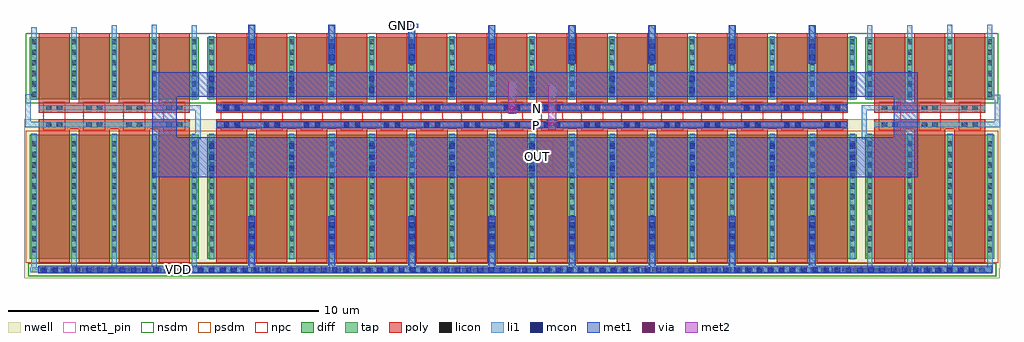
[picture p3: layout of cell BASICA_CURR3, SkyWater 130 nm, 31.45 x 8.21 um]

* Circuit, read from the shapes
.subckt BASICA_CURR3 GND N OUT P VDD
XM1 sky130_fd_pr__nfet_01v8_AP5T44_5/S1 VDD sky130_fd_pr__nfet_01v8_AP5T44_5/D0 VSUBS sky130_fd_pr__nfet_01v8 w=2 l=1
XM2 sky130_fd_pr__nfet_01v8_AP5T44_5/D2 VDD sky130_fd_pr__nfet_01v8_AP5T44_5/S1 VSUBS sky130_fd_pr__nfet_01v8 w=2 l=1
XM3 sky130_fd_pr__nfet_01v8_AP5T44_5/S3 VDD sky130_fd_pr__nfet_01v8_AP5T44_5/D2 VSUBS sky130_fd_pr__nfet_01v8 w=2 l=1
XM4 n1 VDD sky130_fd_pr__nfet_01v8_AP5T44_5/S3 VSUBS sky130_fd_pr__nfet_01v8 w=2 l=1
XM5 sky130_fd_pr__nfet_01v8_VUMGEG_1/S1 N OUT VSUBS sky130_fd_pr__nfet_01v8 w=2 l=1 m=2
XM6 sky130_fd_pr__nfet_01v8_VUMGEG_1/S3 N OUT VSUBS sky130_fd_pr__nfet_01v8 w=2 l=1 m=2
XM7 GND N OUT VSUBS sky130_fd_pr__nfet_01v8 w=2 l=1 m=2
XM8 sky130_fd_pr__nfet_01v8_VUMGEG_1/S7 N OUT VSUBS sky130_fd_pr__nfet_01v8 w=2 l=1 m=2
XM9 sky130_fd_pr__nfet_01v8_VUMGEG_1/S9 N OUT VSUBS sky130_fd_pr__nfet_01v8 w=2 l=1 m=2
XM10 sky130_fd_pr__nfet_01v8_VUMGEG_1/S11 N OUT VSUBS sky130_fd_pr__nfet_01v8 w=2 l=1 m=2
XM11 sky130_fd_pr__nfet_01v8_VUMGEG_1/S13 N OUT VSUBS sky130_fd_pr__nfet_01v8 w=2 l=1 m=2
XM12 sky130_fd_pr__nfet_01v8_VUMGEG_1/S15 N OUT VSUBS sky130_fd_pr__nfet_01v8 w=2 l=1 m=2
XM13 sky130_fd_pr__nfet_01v8_TA47YS_3/S1 VDD sky130_fd_pr__nfet_01v8_TA47YS_3/D0 VSUBS sky130_fd_pr__nfet_01v8 w=2 l=1
XM14 sky130_fd_pr__nfet_01v8_TA47YS_3/D2 VDD sky130_fd_pr__nfet_01v8_TA47YS_3/S1 VSUBS sky130_fd_pr__nfet_01v8 w=2 l=1
XM15 sky130_fd_pr__pfet_01v8_BHT58U_2/G0 VDD sky130_fd_pr__nfet_01v8_TA47YS_3/D2 VSUBS sky130_fd_pr__nfet_01v8 w=2 l=1
XM16 VDD sky130_fd_pr__nfet_01v8_AP5T44_5/D0 VDD VDD sky130_fd_pr__pfet_01v8 w=4 l=1 m=4
XM17 VDD P OUT VDD sky130_fd_pr__pfet_01v8 w=4 l=1 m=16
XM18 VDD sky130_fd_pr__pfet_01v8_BHT58U_2/G0 VDD VDD sky130_fd_pr__pfet_01v8 w=4 l=1 m=3
.ends

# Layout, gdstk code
import gdstk
lib = gdstk.Library(unit=1e-6, precision=1e-09)
def R(c, l, rs):  # rectangles x0, y0, x1, y1
    for r in rs: c.add(gdstk.rectangle(r[:2], r[2:], *l))
def A(c, l, x, y, w, h, nx, ny, dx, dy):  # array of equal rectangles
    R(c, l, [(x+i*dx, y+j*dy, x+i*dx+w, y+j*dy+h) for i in range(nx) for j in range(ny)])
nwell = (64, 20)
diff = (65, 20)
tap = (65, 44)
poly = (66, 20)
licon = (66, 44)
li1 = (67, 20)
mcon = (67, 44)
met1_pin = (68, 16)
met1 = (68, 20)
via = (68, 44)
met2 = (69, 20)
nsdm = (93, 44)
psdm = (94, 20)
npc = (95, 20)

sky130_fd_pr__pfet_01v8_ = lib.new_cell('sky130_fd_pr__pfet_01v8_S4ZETT')
R(sky130_fd_pr__pfet_01v8_, nwell, [(-10.645,-2.49,10.645,2.32)])
R(sky130_fd_pr__pfet_01v8_, diff, [(-10.465,-2.18,10.465,1.82)])
A(sky130_fd_pr__pfet_01v8_, poly, -10.175, -2.31, 1, 4.615, 16, 1, 1.29, 0)
A(sky130_fd_pr__pfet_01v8_, licon, -10.405, -1.965, 0.17, 0.17, 17, 11, 1.29, 0.34)
R(sky130_fd_pr__pfet_01v8_, licon, [(-9.93,2.055,-9.76,2.225), (-9.59,2.055,-9.42,2.225), (-8.64,2.055,-8.47,2.225), (-8.3,2.055,-8.13,2.225), (-7.35,2.055,-7.18,2.225), (-7.01,2.055,-6.84,2.225), (-6.06,2.055,-5.89,2.225), (-5.72,2.055,-5.55,2.225), (-4.77,2.055,-4.6,2.225), (-4.43,2.055,-4.26,2.225), (-3.48,2.055,-3.31,2.225), (-3.14,2.055,-2.97,2.225), (-2.19,2.055,-2.02,2.225), (-1.85,2.055,-1.68,2.225), (-0.9,2.055,-0.73,2.225), (-0.56,2.055,-0.39,2.225), (0.39,2.055,0.56,2.225), (0.73,2.055,0.9,2.225), (1.68,2.055,1.85,2.225), (2.02,2.055,2.19,2.225), (2.97,2.055,3.14,2.225), (3.31,2.055,3.48,2.225), (4.26,2.055,4.43,2.225), (4.6,2.055,4.77,2.225), (5.55,2.055,5.72,2.225), (5.89,2.055,6.06,2.225), (6.84,2.055,7.01,2.225), (7.18,2.055,7.35,2.225), (8.13,2.055,8.3,2.225), (8.47,2.055,8.64,2.225), (9.42,2.055,9.59,2.225), (9.76,2.055,9.93,2.225)])
A(sky130_fd_pr__pfet_01v8_, li1, -10.405, -2.2, 0.17, 4.04, 17, 1, 1.29, 0)
A(sky130_fd_pr__pfet_01v8_, li1, -10.175, 2.055, 1, 0.17, 16, 1, 1.29, 0)
A(sky130_fd_pr__pfet_01v8_, mcon, -9.115, -1.9, 0.17, 0.17, 8, 3, 2.58, 0.36)
A(sky130_fd_pr__pfet_01v8_, mcon, -10.405, 0.645, 0.17, 0.17, 9, 3, 2.58, 0.36)
R(sky130_fd_pr__pfet_01v8_, mcon, [(-9.94,2.055,-9.77,2.225), (-9.58,2.055,-9.41,2.225), (-8.65,2.055,-8.48,2.225), (-8.29,2.055,-8.12,2.225), (-7.36,2.055,-7.19,2.225), (-7,2.055,-6.83,2.225), (-6.07,2.055,-5.9,2.225), (-5.71,2.055,-5.54,2.225), (-4.78,2.055,-4.61,2.225), (-4.42,2.055,-4.25,2.225), (-3.49,2.055,-3.32,2.225), (-3.13,2.055,-2.96,2.225), (-2.2,2.055,-2.03,2.225), (-1.84,2.055,-1.67,2.225), (-0.91,2.055,-0.74,2.225), (-0.55,2.055,-0.38,2.225), (0.38,2.055,0.55,2.225), (0.74,2.055,0.91,2.225), (1.67,2.055,1.84,2.225), (2.03,2.055,2.2,2.225), (2.96,2.055,3.13,2.225), (3.32,2.055,3.49,2.225), (4.25,2.055,4.42,2.225), (4.61,2.055,4.78,2.225), (5.54,2.055,5.71,2.225), (5.9,2.055,6.07,2.225), (6.83,2.055,7,2.225), (7.19,2.055,7.36,2.225), (8.12,2.055,8.29,2.225), (8.48,2.055,8.65,2.225), (9.41,2.055,9.58,2.225), (9.77,2.055,9.94,2.225)])
A(sky130_fd_pr__pfet_01v8_, met1, -9.145, -2.095, 0.23, 1.285, 8, 1, 2.58, 0)
A(sky130_fd_pr__pfet_01v8_, met1, -10.435, 0.45, 0.23, 1.285, 9, 1, 2.58, 0)
A(sky130_fd_pr__pfet_01v8_, met1, -10.155, 2.025, 0.96, 0.23, 16, 1, 1.29, 0)
R(sky130_fd_pr__pfet_01v8_, psdm, [(-10.59,-2.305,10.59,1.945)])
A(sky130_fd_pr__pfet_01v8_, npc, -10.03, 1.955, 0.71, 0.37, 16, 1, 1.29, 0)
sky130_fd_pr__pfet_01v8_.add(gdstk.Label('D0', (-10.32,-0.18), layer=67, texttype=5))
sky130_fd_pr__pfet_01v8_.add(gdstk.Label('G0', (-9.675,2.14), layer=67, texttype=5))
sky130_fd_pr__pfet_01v8_.add(gdstk.Label('S1', (-9.03,-0.18), layer=67, texttype=5))
sky130_fd_pr__pfet_01v8_.add(gdstk.Label('G1', (-8.385,2.14), layer=67, texttype=5))
sky130_fd_pr__pfet_01v8_.add(gdstk.Label('D2', (-7.74,-0.18), layer=67, texttype=5))
sky130_fd_pr__pfet_01v8_.add(gdstk.Label('G2', (-7.095,2.14), layer=67, texttype=5))
sky130_fd_pr__pfet_01v8_.add(gdstk.Label('S3', (-6.45,-0.18), layer=67, texttype=5))
sky130_fd_pr__pfet_01v8_.add(gdstk.Label('G3', (-5.805,2.14), layer=67, texttype=5))
sky130_fd_pr__pfet_01v8_.add(gdstk.Label('D4', (-5.16,-0.18), layer=67, texttype=5))
sky130_fd_pr__pfet_01v8_.add(gdstk.Label('G4', (-4.515,2.14), layer=67, texttype=5))
sky130_fd_pr__pfet_01v8_.add(gdstk.Label('S5', (-3.87,-0.18), layer=67, texttype=5))
sky130_fd_pr__pfet_01v8_.add(gdstk.Label('G5', (-3.225,2.14), layer=67, texttype=5))
sky130_fd_pr__pfet_01v8_.add(gdstk.Label('D6', (-2.58,-0.18), layer=67, texttype=5))
sky130_fd_pr__pfet_01v8_.add(gdstk.Label('G6', (-1.935,2.14), layer=67, texttype=5))
sky130_fd_pr__pfet_01v8_.add(gdstk.Label('S7', (-1.29,-0.18), layer=67, texttype=5))
sky130_fd_pr__pfet_01v8_.add(gdstk.Label('G7', (-0.645,2.14), layer=67, texttype=5))
sky130_fd_pr__pfet_01v8_.add(gdstk.Label('D8', (0,-0.18), layer=67, texttype=5))
sky130_fd_pr__pfet_01v8_.add(gdstk.Label('G8', (0.645,2.14), layer=67, texttype=5))
sky130_fd_pr__pfet_01v8_.add(gdstk.Label('S9', (1.29,-0.18), layer=67, texttype=5))
sky130_fd_pr__pfet_01v8_.add(gdstk.Label('G9', (1.935,2.14), layer=67, texttype=5))
sky130_fd_pr__pfet_01v8_.add(gdstk.Label('D10', (2.58,-0.18), layer=67, texttype=5))
sky130_fd_pr__pfet_01v8_.add(gdstk.Label('G10', (3.225,2.14), layer=67, texttype=5))
sky130_fd_pr__pfet_01v8_.add(gdstk.Label('S11', (3.87,-0.18), layer=67, texttype=5))
sky130_fd_pr__pfet_01v8_.add(gdstk.Label('G11', (4.515,2.14), layer=67, texttype=5))
sky130_fd_pr__pfet_01v8_.add(gdstk.Label('D12', (5.16,-0.18), layer=67, texttype=5))
sky130_fd_pr__pfet_01v8_.add(gdstk.Label('G12', (5.805,2.14), layer=67, texttype=5))
sky130_fd_pr__pfet_01v8_.add(gdstk.Label('S13', (6.45,-0.18), layer=67, texttype=5))
sky130_fd_pr__pfet_01v8_.add(gdstk.Label('G13', (7.095,2.14), layer=67, texttype=5))
sky130_fd_pr__pfet_01v8_.add(gdstk.Label('D14', (7.74,-0.18), layer=67, texttype=5))
sky130_fd_pr__pfet_01v8_.add(gdstk.Label('G14', (8.385,2.14), layer=67, texttype=5))
sky130_fd_pr__pfet_01v8_.add(gdstk.Label('S15', (9.03,-0.18), layer=67, texttype=5))
sky130_fd_pr__pfet_01v8_.add(gdstk.Label('G15', (9.675,2.14), layer=67, texttype=5))

sky130_fd_pr__nfet_01v8_ = lib.new_cell('sky130_fd_pr__nfet_01v8_VUMGEG')
R(sky130_fd_pr__nfet_01v8_, diff, [(-10.465,-0.845,10.465,1.155)])
A(sky130_fd_pr__nfet_01v8_, poly, -10.175, -1.285, 1, 2.57, 16, 1, 1.29, 0)
A(sky130_fd_pr__nfet_01v8_, licon, -10.405, -0.78, 0.17, 0.17, 17, 6, 1.29, 0.34)
R(sky130_fd_pr__nfet_01v8_, licon, [(-9.93,-1.205,-9.76,-1.035), (-9.59,-1.205,-9.42,-1.035), (-8.64,-1.205,-8.47,-1.035), (-8.3,-1.205,-8.13,-1.035), (-7.35,-1.205,-7.18,-1.035), (-7.01,-1.205,-6.84,-1.035), (-6.06,-1.205,-5.89,-1.035), (-5.72,-1.205,-5.55,-1.035), (-4.77,-1.205,-4.6,-1.035), (-4.43,-1.205,-4.26,-1.035), (-3.48,-1.205,-3.31,-1.035), (-3.14,-1.205,-2.97,-1.035), (-2.19,-1.205,-2.02,-1.035), (-1.85,-1.205,-1.68,-1.035), (-0.9,-1.205,-0.73,-1.035), (-0.56,-1.205,-0.39,-1.035), (0.39,-1.205,0.56,-1.035), (0.73,-1.205,0.9,-1.035), (1.68,-1.205,1.85,-1.035), (2.02,-1.205,2.19,-1.035), (2.97,-1.205,3.14,-1.035), (3.31,-1.205,3.48,-1.035), (4.26,-1.205,4.43,-1.035), (4.6,-1.205,4.77,-1.035), (5.55,-1.205,5.72,-1.035), (5.89,-1.205,6.06,-1.035), (6.84,-1.205,7.01,-1.035), (7.18,-1.205,7.35,-1.035), (8.13,-1.205,8.3,-1.035), (8.47,-1.205,8.64,-1.035), (9.42,-1.205,9.59,-1.035), (9.76,-1.205,9.93,-1.035)])
A(sky130_fd_pr__nfet_01v8_, li1, -10.175, -1.205, 1, 0.17, 16, 1, 1.29, 0)
A(sky130_fd_pr__nfet_01v8_, li1, -10.405, -0.865, 0.17, 2.04, 17, 1, 1.29, 0)
A(sky130_fd_pr__nfet_01v8_, mcon, -10.405, -0.635, 0.17, 0.17, 9, 2, 2.58, 0.36)
A(sky130_fd_pr__nfet_01v8_, mcon, -9.115, 0.415, 0.17, 0.17, 8, 2, 2.58, 0.36)
R(sky130_fd_pr__nfet_01v8_, mcon, [(-9.94,-1.205,-9.77,-1.035), (-9.58,-1.205,-9.41,-1.035), (-8.65,-1.205,-8.48,-1.035), (-8.29,-1.205,-8.12,-1.035), (-7.36,-1.205,-7.19,-1.035), (-7,-1.205,-6.83,-1.035), (-6.07,-1.205,-5.9,-1.035), (-5.71,-1.205,-5.54,-1.035), (-4.78,-1.205,-4.61,-1.035), (-4.42,-1.205,-4.25,-1.035), (-3.49,-1.205,-3.32,-1.035), (-3.13,-1.205,-2.96,-1.035), (-2.2,-1.205,-2.03,-1.035), (-1.84,-1.205,-1.67,-1.035), (-0.91,-1.205,-0.74,-1.035), (-0.55,-1.205,-0.38,-1.035), (0.38,-1.205,0.55,-1.035), (0.74,-1.205,0.91,-1.035), (1.67,-1.205,1.84,-1.035), (2.03,-1.205,2.2,-1.035), (2.96,-1.205,3.13,-1.035), (3.32,-1.205,3.49,-1.035), (4.25,-1.205,4.42,-1.035), (4.61,-1.205,4.78,-1.035), (5.54,-1.205,5.71,-1.035), (5.9,-1.205,6.07,-1.035), (6.83,-1.205,7,-1.035), (7.19,-1.205,7.36,-1.035), (8.12,-1.205,8.29,-1.035), (8.48,-1.205,8.65,-1.035), (9.41,-1.205,9.58,-1.035), (9.77,-1.205,9.94,-1.035)])
A(sky130_fd_pr__nfet_01v8_, met1, -10.155, -1.235, 0.96, 0.23, 16, 1, 1.29, 0)
A(sky130_fd_pr__nfet_01v8_, met1, -10.435, -0.76, 0.23, 0.78, 9, 1, 2.58, 0)
A(sky130_fd_pr__nfet_01v8_, met1, -9.145, 0.29, 0.23, 0.78, 8, 1, 2.58, 0)
R(sky130_fd_pr__nfet_01v8_, nsdm, [(-10.59,-0.97,10.59,1.28)])
A(sky130_fd_pr__nfet_01v8_, npc, -10.03, -1.305, 0.71, 0.37, 16, 1, 1.29, 0)
sky130_fd_pr__nfet_01v8_.add(gdstk.Label('D0', (-10.32,0.155), layer=67, texttype=5))
sky130_fd_pr__nfet_01v8_.add(gdstk.Label('G0', (-9.675,-1.12), layer=67, texttype=5))
sky130_fd_pr__nfet_01v8_.add(gdstk.Label('S1', (-9.03,0.155), layer=67, texttype=5))
sky130_fd_pr__nfet_01v8_.add(gdstk.Label('G1', (-8.385,-1.12), layer=67, texttype=5))
sky130_fd_pr__nfet_01v8_.add(gdstk.Label('D2', (-7.74,0.155), layer=67, texttype=5))
sky130_fd_pr__nfet_01v8_.add(gdstk.Label('G2', (-7.095,-1.12), layer=67, texttype=5))
sky130_fd_pr__nfet_01v8_.add(gdstk.Label('S3', (-6.45,0.155), layer=67, texttype=5))
sky130_fd_pr__nfet_01v8_.add(gdstk.Label('G3', (-5.805,-1.12), layer=67, texttype=5))
sky130_fd_pr__nfet_01v8_.add(gdstk.Label('D4', (-5.16,0.155), layer=67, texttype=5))
sky130_fd_pr__nfet_01v8_.add(gdstk.Label('G4', (-4.515,-1.12), layer=67, texttype=5))
sky130_fd_pr__nfet_01v8_.add(gdstk.Label('S5', (-3.87,0.155), layer=67, texttype=5))
sky130_fd_pr__nfet_01v8_.add(gdstk.Label('G5', (-3.225,-1.12), layer=67, texttype=5))
sky130_fd_pr__nfet_01v8_.add(gdstk.Label('D6', (-2.58,0.155), layer=67, texttype=5))
sky130_fd_pr__nfet_01v8_.add(gdstk.Label('G6', (-1.935,-1.12), layer=67, texttype=5))
sky130_fd_pr__nfet_01v8_.add(gdstk.Label('S7', (-1.29,0.155), layer=67, texttype=5))
sky130_fd_pr__nfet_01v8_.add(gdstk.Label('G7', (-0.645,-1.12), layer=67, texttype=5))
sky130_fd_pr__nfet_01v8_.add(gdstk.Label('D8', (0,0.155), layer=67, texttype=5))
sky130_fd_pr__nfet_01v8_.add(gdstk.Label('G8', (0.645,-1.12), layer=67, texttype=5))
sky130_fd_pr__nfet_01v8_.add(gdstk.Label('S9', (1.29,0.155), layer=67, texttype=5))
sky130_fd_pr__nfet_01v8_.add(gdstk.Label('G9', (1.935,-1.12), layer=67, texttype=5))
sky130_fd_pr__nfet_01v8_.add(gdstk.Label('D10', (2.58,0.155), layer=67, texttype=5))
sky130_fd_pr__nfet_01v8_.add(gdstk.Label('G10', (3.225,-1.12), layer=67, texttype=5))
sky130_fd_pr__nfet_01v8_.add(gdstk.Label('S11', (3.87,0.155), layer=67, texttype=5))
sky130_fd_pr__nfet_01v8_.add(gdstk.Label('G11', (4.515,-1.12), layer=67, texttype=5))
sky130_fd_pr__nfet_01v8_.add(gdstk.Label('D12', (5.16,0.155), layer=67, texttype=5))
sky130_fd_pr__nfet_01v8_.add(gdstk.Label('G12', (5.805,-1.12), layer=67, texttype=5))
sky130_fd_pr__nfet_01v8_.add(gdstk.Label('S13', (6.45,0.155), layer=67, texttype=5))
sky130_fd_pr__nfet_01v8_.add(gdstk.Label('G13', (7.095,-1.12), layer=67, texttype=5))
sky130_fd_pr__nfet_01v8_.add(gdstk.Label('D14', (7.74,0.155), layer=67, texttype=5))
sky130_fd_pr__nfet_01v8_.add(gdstk.Label('G14', (8.385,-1.12), layer=67, texttype=5))
sky130_fd_pr__nfet_01v8_.add(gdstk.Label('S15', (9.03,0.155), layer=67, texttype=5))
sky130_fd_pr__nfet_01v8_.add(gdstk.Label('G15', (9.675,-1.12), layer=67, texttype=5))

c_sky130_fd_pr__pfet_01v8_ = lib.new_cell('sky130_fd_pr__pfet_01v8_BHT58U')
R(c_sky130_fd_pr__pfet_01v8_, nwell, [(-2.26,-2.49,2.26,2.32)])
R(c_sky130_fd_pr__pfet_01v8_, diff, [(-2.08,-2.18,2.08,1.82)])
A(c_sky130_fd_pr__pfet_01v8_, poly, -1.79, -2.31, 1, 4.615, 3, 1, 1.29, 0)
A(c_sky130_fd_pr__pfet_01v8_, licon, -2.02, -1.965, 0.17, 0.17, 4, 11, 1.29, 0.34)
R(c_sky130_fd_pr__pfet_01v8_, licon, [(-1.545,2.055,-1.375,2.225), (-1.205,2.055,-1.035,2.225), (-0.255,2.055,-0.085,2.225), (0.085,2.055,0.255,2.225), (1.035,2.055,1.205,2.225), (1.375,2.055,1.545,2.225)])
A(c_sky130_fd_pr__pfet_01v8_, li1, -2.02, -2.2, 0.17, 4.04, 4, 1, 1.29, 0)
A(c_sky130_fd_pr__pfet_01v8_, li1, -1.79, 2.055, 1, 0.17, 3, 1, 1.29, 0)
R(c_sky130_fd_pr__pfet_01v8_, psdm, [(-2.205,-2.305,2.205,1.945)])
A(c_sky130_fd_pr__pfet_01v8_, npc, -1.645, 1.955, 0.71, 0.37, 3, 1, 1.29, 0)
c_sky130_fd_pr__pfet_01v8_.add(gdstk.Label('D0', (-1.935,-0.18), layer=67, texttype=5))
c_sky130_fd_pr__pfet_01v8_.add(gdstk.Label('G0', (-1.29,2.14), layer=67, texttype=5))
c_sky130_fd_pr__pfet_01v8_.add(gdstk.Label('S1', (-0.645,-0.18), layer=67, texttype=5))
c_sky130_fd_pr__pfet_01v8_.add(gdstk.Label('G1', (0,2.14), layer=67, texttype=5))
c_sky130_fd_pr__pfet_01v8_.add(gdstk.Label('D2', (0.645,-0.18), layer=67, texttype=5))
c_sky130_fd_pr__pfet_01v8_.add(gdstk.Label('S2', (1.935,-0.18), layer=67, texttype=5))
c_sky130_fd_pr__pfet_01v8_.add(gdstk.Label('G2', (1.29,2.14), layer=67, texttype=5))

c_sky130_fd_pr__nfet_01v8_ = lib.new_cell('sky130_fd_pr__nfet_01v8_TA47YS')
R(c_sky130_fd_pr__nfet_01v8_, diff, [(-2.08,-0.845,2.08,1.155)])
A(c_sky130_fd_pr__nfet_01v8_, poly, -1.79, -1.285, 1, 2.57, 3, 1, 1.29, 0)
A(c_sky130_fd_pr__nfet_01v8_, licon, -2.02, -0.78, 0.17, 0.17, 4, 6, 1.29, 0.34)
R(c_sky130_fd_pr__nfet_01v8_, licon, [(-1.545,-1.205,-1.375,-1.035), (-1.205,-1.205,-1.035,-1.035), (-0.255,-1.205,-0.085,-1.035), (0.085,-1.205,0.255,-1.035), (1.035,-1.205,1.205,-1.035), (1.375,-1.205,1.545,-1.035)])
A(c_sky130_fd_pr__nfet_01v8_, li1, -1.79, -1.205, 1, 0.17, 3, 1, 1.29, 0)
A(c_sky130_fd_pr__nfet_01v8_, li1, -2.02, -0.865, 0.17, 2.04, 4, 1, 1.29, 0)
R(c_sky130_fd_pr__nfet_01v8_, nsdm, [(-2.205,-0.97,2.205,1.28)])
A(c_sky130_fd_pr__nfet_01v8_, npc, -1.645, -1.305, 0.71, 0.37, 3, 1, 1.29, 0)
c_sky130_fd_pr__nfet_01v8_.add(gdstk.Label('D0', (-1.935,0.155), layer=67, texttype=5))
c_sky130_fd_pr__nfet_01v8_.add(gdstk.Label('G0', (-1.29,-1.12), layer=67, texttype=5))
c_sky130_fd_pr__nfet_01v8_.add(gdstk.Label('S1', (-0.645,0.155), layer=67, texttype=5))
c_sky130_fd_pr__nfet_01v8_.add(gdstk.Label('G1', (0,-1.12), layer=67, texttype=5))
c_sky130_fd_pr__nfet_01v8_.add(gdstk.Label('D2', (0.645,0.155), layer=67, texttype=5))
c_sky130_fd_pr__nfet_01v8_.add(gdstk.Label('S2', (1.935,0.155), layer=67, texttype=5))
c_sky130_fd_pr__nfet_01v8_.add(gdstk.Label('G2', (1.29,-1.12), layer=67, texttype=5))

c_sky130_fd_pr__pfet_01v8__ = lib.new_cell('sky130_fd_pr__pfet_01v8_CNM2K8')
R(c_sky130_fd_pr__pfet_01v8__, nwell, [(-2.905,-2.49,2.905,2.32)])
R(c_sky130_fd_pr__pfet_01v8__, diff, [(-2.725,-2.18,2.725,1.82)])
A(c_sky130_fd_pr__pfet_01v8__, poly, -2.435, -2.31, 1, 4.615, 4, 1, 1.29, 0)
A(c_sky130_fd_pr__pfet_01v8__, licon, -2.665, -1.965, 0.17, 0.17, 5, 11, 1.29, 0.34)
R(c_sky130_fd_pr__pfet_01v8__, licon, [(-2.19,2.055,-2.02,2.225), (-1.85,2.055,-1.68,2.225), (-0.9,2.055,-0.73,2.225), (-0.56,2.055,-0.39,2.225), (0.39,2.055,0.56,2.225), (0.73,2.055,0.9,2.225), (1.68,2.055,1.85,2.225), (2.02,2.055,2.19,2.225)])
A(c_sky130_fd_pr__pfet_01v8__, li1, -2.665, -2.2, 0.17, 4.04, 5, 1, 1.29, 0)
A(c_sky130_fd_pr__pfet_01v8__, li1, -2.435, 2.055, 1, 0.17, 4, 1, 1.29, 0)
R(c_sky130_fd_pr__pfet_01v8__, psdm, [(-2.85,-2.305,2.85,1.945)])
A(c_sky130_fd_pr__pfet_01v8__, npc, -2.29, 1.955, 0.71, 0.37, 4, 1, 1.29, 0)
c_sky130_fd_pr__pfet_01v8__.add(gdstk.Label('D0', (-2.58,-0.18), layer=67, texttype=5))
c_sky130_fd_pr__pfet_01v8__.add(gdstk.Label('G0', (-1.935,2.14), layer=67, texttype=5))
c_sky130_fd_pr__pfet_01v8__.add(gdstk.Label('S1', (-1.29,-0.18), layer=67, texttype=5))
c_sky130_fd_pr__pfet_01v8__.add(gdstk.Label('G1', (-0.645,2.14), layer=67, texttype=5))
c_sky130_fd_pr__pfet_01v8__.add(gdstk.Label('D2', (0,-0.18), layer=67, texttype=5))
c_sky130_fd_pr__pfet_01v8__.add(gdstk.Label('G2', (0.645,2.14), layer=67, texttype=5))
c_sky130_fd_pr__pfet_01v8__.add(gdstk.Label('S3', (1.29,-0.18), layer=67, texttype=5))
c_sky130_fd_pr__pfet_01v8__.add(gdstk.Label('G3', (1.935,2.14), layer=67, texttype=5))

c_sky130_fd_pr__nfet_01v8__ = lib.new_cell('sky130_fd_pr__nfet_01v8_AP5T44')
R(c_sky130_fd_pr__nfet_01v8__, diff, [(-2.725,-0.845,2.725,1.155)])
A(c_sky130_fd_pr__nfet_01v8__, poly, -2.435, -1.285, 1, 2.57, 4, 1, 1.29, 0)
A(c_sky130_fd_pr__nfet_01v8__, licon, -2.665, -0.78, 0.17, 0.17, 5, 6, 1.29, 0.34)
R(c_sky130_fd_pr__nfet_01v8__, licon, [(-2.19,-1.205,-2.02,-1.035), (-1.85,-1.205,-1.68,-1.035), (-0.9,-1.205,-0.73,-1.035), (-0.56,-1.205,-0.39,-1.035), (0.39,-1.205,0.56,-1.035), (0.73,-1.205,0.9,-1.035), (1.68,-1.205,1.85,-1.035), (2.02,-1.205,2.19,-1.035)])
A(c_sky130_fd_pr__nfet_01v8__, li1, -2.435, -1.205, 1, 0.17, 4, 1, 1.29, 0)
A(c_sky130_fd_pr__nfet_01v8__, li1, -2.665, -0.865, 0.17, 2.04, 5, 1, 1.29, 0)
R(c_sky130_fd_pr__nfet_01v8__, nsdm, [(-2.85,-0.97,2.85,1.28)])
A(c_sky130_fd_pr__nfet_01v8__, npc, -2.29, -1.305, 0.71, 0.37, 4, 1, 1.29, 0)
c_sky130_fd_pr__nfet_01v8__.add(gdstk.Label('D0', (-2.58,0.155), layer=67, texttype=5))
c_sky130_fd_pr__nfet_01v8__.add(gdstk.Label('G0', (-1.935,-1.12), layer=67, texttype=5))
c_sky130_fd_pr__nfet_01v8__.add(gdstk.Label('S1', (-1.29,0.155), layer=67, texttype=5))
c_sky130_fd_pr__nfet_01v8__.add(gdstk.Label('G1', (-0.645,-1.12), layer=67, texttype=5))
c_sky130_fd_pr__nfet_01v8__.add(gdstk.Label('D2', (0,0.155), layer=67, texttype=5))
c_sky130_fd_pr__nfet_01v8__.add(gdstk.Label('G2', (0.645,-1.12), layer=67, texttype=5))
c_sky130_fd_pr__nfet_01v8__.add(gdstk.Label('S3', (1.29,0.155), layer=67, texttype=5))
c_sky130_fd_pr__nfet_01v8__.add(gdstk.Label('G3', (1.935,-1.12), layer=67, texttype=5))

basica_curr3 = lib.new_cell('BASICA_CURR3')
R(basica_curr3, nwell, [(13.195,-3.455,44.63,1.16), (13.195,1.16,18.39,1.68), (21.095,1.16,44.63,1.19), (25.275,1.19,44.63,1.23), (25.275,1.23,32.575,1.28), (32.845,1.23,44.63,1.28), (25.275,1.28,32.49,1.68), (40.785,1.28,44.63,1.68)])
R(basica_curr3, tap, [(13.45,-3.26,44.395,-3.09)])
R(basica_curr3, poly, [(13.66,1.345,18.385,1.665), (19.53,1.345,39.37,1.665), (40.78,1.345,43.82,1.665), (13.66,1.88,18.385,2.2), (19.62,1.88,39.1,2.2), (41.02,1.88,44.08,2.2)])
A(basica_curr3, licon, 13.71, -3.26, 0.17, 0.17, 90, 1, 0.34, 0)
A(basica_curr3, li1, 20.44, 4.325, 0.17, 0.38, 5, 1, 2.58, 0)
R(basica_curr3, li1, [(13.39,-3.26,44.395,-3.09), (13.43,-3.09,13.6,-2.82), (14.72,-3.09,14.89,-2.82), (16.01,-3.09,16.18,-2.805), (17.3,-3.09,17.47,-2.815), (18.59,-3.09,18.76,-2.79), (20.445,-3.09,20.615,-2.79), (23.025,-3.09,23.195,-2.785), (25.605,-3.09,25.775,-2.75), (28.185,-3.09,28.355,-2.8), (30.765,-3.09,30.935,-2.76), (33.345,-3.09,33.515,-2.81), (35.925,-3.09,36.095,-2.825), (38.505,-3.09,38.675,-2.81), (40.355,-3.09,40.525,-2.795), (41.645,-3.09,41.815,-2.735), (42.935,-3.09,43.105,-2.745), (44.225,-3.09,44.395,-2.83), (18.67,1.03,18.885,1.2), (40.175,1.03,40.525,1.2), (18.715,1.2,18.885,1.96), (40.175,1.2,40.345,1.96), (13.235,1.415,18.385,1.585), (20.095,1.415,39.035,1.585), (40.78,1.415,44.635,1.585), (13.235,1.585,13.405,2.3), (44.465,1.585,44.635,2.3), (13.66,1.96,18.385,2.13), (18.43,1.96,18.885,2.13), (19.865,1.96,39.025,2.13), (40.175,1.96,43.83,2.13), (13.235,2.3,13.5,2.315), (44.22,2.3,44.635,2.47), (13.235,2.315,13.585,2.485), (13.43,4.305,13.6,4.635), (14.72,4.31,14.89,4.64), (16.01,4.315,16.18,4.695), (33.34,4.32,33.51,4.7), (18.59,4.325,18.76,4.705), (35.92,4.325,36.09,4.705), (38.5,4.325,38.67,4.705), (40.35,4.325,40.52,4.705), (41.64,4.325,41.81,4.705), (17.3,4.33,17.47,4.71), (42.93,4.33,43.1,4.71), (44.22,4.33,44.39,4.71)])
A(basica_curr3, mcon, 13.755, -3.26, 0.17, 0.17, 84, 1, 0.36, 0)
R(basica_curr3, met1_pin, [(17.67,-3.23,18.67,-3.075), (29.24,-0.02,30.24,0.98), (29.19,1.425,30.19,1.55), (29.24,1.97,30.24,2.095), (24.89,4.625,25.89,4.755)])
R(basica_curr3, met1, [(13.655,-3.29,44.39,-3.05), (20.415,-3.05,20.645,-2.695), (22.995,-3.05,23.225,-2.705), (25.575,-3.05,25.805,-2.7), (28.155,-3.05,28.385,-2.67), (30.735,-3.05,30.965,-2.685), (33.315,-3.05,33.545,-2.715), (35.895,-3.05,36.125,-2.63), (38.475,-3.05,38.705,-2.715), (17.33,-0.19,41.985,1.095), (17.33,1.095,18.11,2.405), (41.205,1.095,41.985,2.405), (19.825,1.385,39.295,1.615), (30.025,1.615,30.385,1.645), (28.74,1.895,29.1,1.93), (19.845,1.93,39.335,2.16), (17.33,2.405,41.985,3.185), (33.31,4.19,33.54,4.7), (28.15,4.195,28.38,4.705), (30.73,4.195,30.96,4.705), (35.89,4.195,36.12,4.705), (38.47,4.195,38.7,4.705), (20.41,4.2,20.64,4.71), (22.99,4.2,23.22,4.71), (25.57,4.215,25.8,4.625), (24.89,4.625,25.89,4.755)])
R(basica_curr3, via, [(30.13,1.44,30.28,1.59), (28.845,1.95,28.995,2.1)])
R(basica_curr3, met2, [(30.075,1.335,30.335,2.785), (28.79,1.845,29.05,2.875)])
R(basica_curr3, nsdm, [(13.325,-3.385,44.52,-2.965), (18.945,2.195,18.965,4.445), (40.145,2.195,40.165,4.445)])
R(basica_curr3, psdm, [(18.945,-2.945,18.97,1.305), (40.15,-2.945,40.17,1.305)])
A(basica_curr3, npc, 13.805, 1.685, 0.71, 0.175, 4, 1, 1.29, 0)
A(basica_curr3, npc, 19.53, 1.685, 0.705, 0.175, 16, 1, 1.29, 0)
A(basica_curr3, npc, 40.73, 1.685, 0.705, 0.175, 3, 1, 1.29, 0)
basica_curr3.add(gdstk.Reference(sky130_fd_pr__pfet_01v8_, (29.56,-0.64)))
basica_curr3.add(gdstk.Reference(sky130_fd_pr__nfet_01v8_, (29.555,3.165)))
basica_curr3.add(gdstk.Reference(c_sky130_fd_pr__pfet_01v8_, (42.375,-0.64)))
basica_curr3.add(gdstk.Reference(c_sky130_fd_pr__nfet_01v8_, (42.37,3.165)))
basica_curr3.add(gdstk.Reference(c_sky130_fd_pr__pfet_01v8__, (16.095,-0.64)))
basica_curr3.add(gdstk.Reference(c_sky130_fd_pr__nfet_01v8__, (16.095,3.165)))
basica_curr3.add(gdstk.Label('VDD', (18.17,-3.152), layer=68, texttype=5))
basica_curr3.add(gdstk.Label('P', (29.69,1.487), layer=68, texttype=5))
basica_curr3.add(gdstk.Label('GND', (25.39,4.69), layer=68, texttype=5))
basica_curr3.add(gdstk.Label('OUT', (29.74,0.48), layer=68, texttype=5))
basica_curr3.add(gdstk.Label('N', (29.74,2.032), layer=68, texttype=5))

lib.write_gds('BASICA_CURR3.gds')
